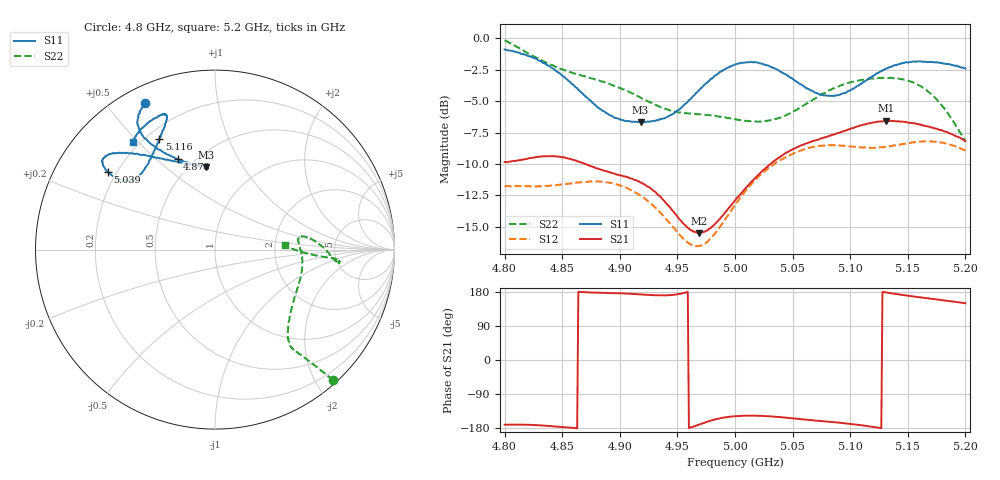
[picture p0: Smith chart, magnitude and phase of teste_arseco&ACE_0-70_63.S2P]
! Network Analyzer HP8722D
! Hewlett-Packard
! Data name: Linha & Wilkinson
! Saver's name: Rodrigo Anjos
! Comments: Teste da utilização de aquisição
! continua pelo VNA HP8722D
! Time and date: 8/5/2025 13:17
!  Frequency  S11  S21  S12  S22
# HZ  S  MA R 50
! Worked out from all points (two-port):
!   401 points, 4.8 GHz to 5.2 GHz, reference 50 ohm
!   highest |S21| = -6.55 dB at 5.131 GHz (marker M1); lowest = -15.5 dB at 4.969 GHz (marker M2)
!   |S21| within 3 dB of the highest: 4.82 GHz to 4.854 GHz (34.01 MHz wide, 0.703 % of centre); 5.037 GHz to end of sweep
!   lowest |S11| = -6.7 dB at 4.918 GHz (marker M3), VSWR 2.73, Z = 30 + j35.2 ohm
!   |S11| at or under -10 dB: nowhere
!   |S22| runs from -8.2 to -0.2 dB; largest |S21 - S12| = 0.83
!   S11 on the Smith chart (normalised r, x): 4.8 GHz: 0.07, +0.63; 4.878 GHz: 0.41, +0.59; 5.039 GHz: 0.17, +0.32; 5.116 GHz: 0.25, +0.59; 5.2 GHz: 0.17, +0.48
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4.8e9  0.9022 115.5  0.3222 -170.7  0.2583 -86.1  0.9799 -47.8
4.818e9  0.8595 119.8  0.3304 -170.7  0.2585 -82.2  0.8831 -48.8
4.837e9  0.7828 122.4  0.3392 -174.1  0.2586 -76.2  0.7969 -50.1
4.867e9  0.6058 117.4  0.3204 179.2  0.2676 -67.8  0.7107 -51.7
4.878e9  0.5463 112.5  0.3069 177.9  0.2693 -66.5  0.6869 -52.1
4.9e9  0.4756 100.8  0.2849 176.0  0.2596 -67.1  0.6335 -50.3
4.918e9  0.4634 95.9  0.2668 173.1  0.2366 -69.3  0.5807 -45.0
4.934e9  0.4742 99.4  0.2366 170.6  0.2055 -69.8  0.5359 -37.0
4.957e9  0.5495 115.7  0.1804 178.0  0.1566 -60.0  0.5046 -21.8
4.969e9  0.6228 123.9  0.1675 -170.0  0.1494 -46.7  0.4991 -14.6
4.981e9  0.6976 130.1  0.1795 -158.4  0.1638 -33.2  0.4913 -8.5
5e9  0.7865 137.1  0.2262 -148.4  0.2173 -21.6  0.4757 -0.2
5.019e9  0.8014 141.6  0.2825 -147.2  0.2771 -18.8  0.4664 5.9
5.039e9  0.7373 144.1  0.3366 -150.7  0.3263 -19.0  0.4835 8.8
5.067e9  0.6182 141.5  0.3899 -158.8  0.369 -21.3  0.5656 4.1
5.087e9  0.5925 133.1  0.4157 -164.6  0.3751 -24.3  0.6367 -1.9
5.116e9  0.6916 116.6  0.4589 -175.0  0.3667 -27.4  0.689 -6.0
5.131e9  0.7573 111.3  0.4703 178.2  0.3699 -29.0  0.6954 -5.6
5.134e9  0.767 110.7  0.4676 177.0  0.3717 -29.5  0.6962 -5.4
5.16e9  0.8089 111.9  0.4533 165.5  0.388 -35.6  0.6496 -4.2
5.179e9  0.7984 118.4  0.4319 158.1  0.3847 -41.6  0.5444 -3.0
5.2e9  0.7567 127.3  0.3899 149.8  0.3572 -47.2  0.3883 3.4
